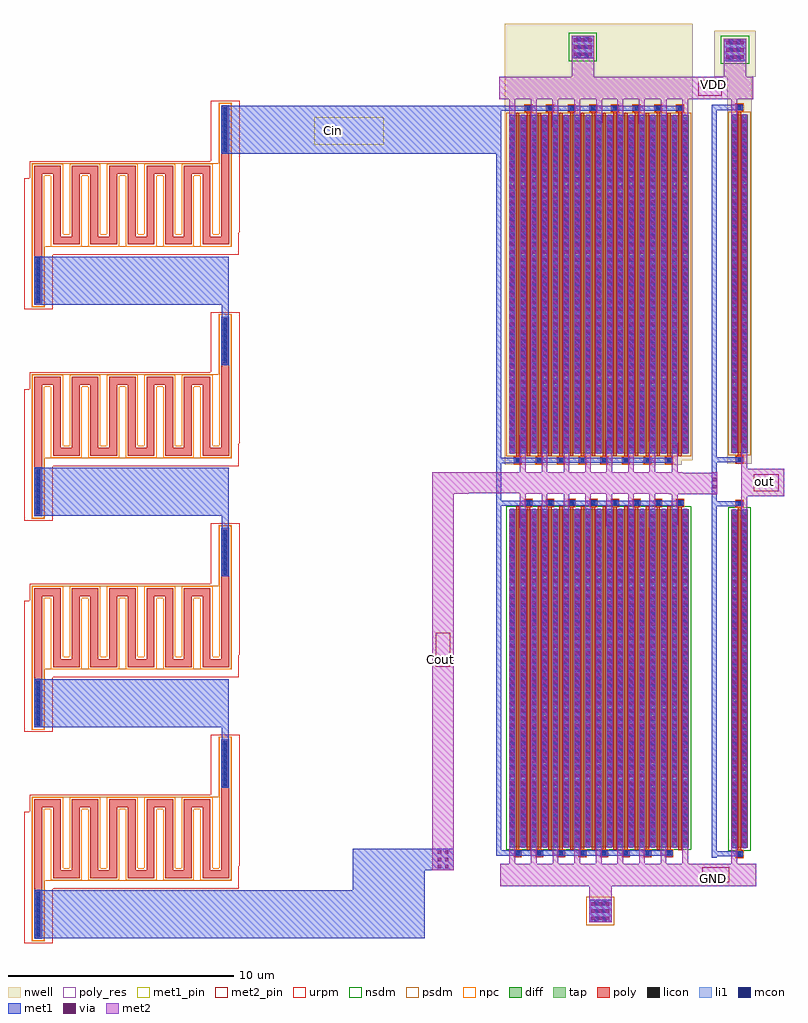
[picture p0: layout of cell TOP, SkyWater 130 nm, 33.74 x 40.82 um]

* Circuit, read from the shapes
.subckt TOP Cin Cout GND VDD out
XM1 Cout Cin GND GND sky130_fd_pr__nfet_01v8 w=15 l=0.15 m=16
XM2 out Cout GND GND sky130_fd_pr__nfet_01v8 w=15 l=0.15
XM3 Cout Cin VDD VDD sky130_fd_pr__pfet_01v8 w=15 l=0.15 m=16
XM4 out Cout VDD VDD sky130_fd_pr__pfet_01v8 w=15 l=0.15
XR5 n1 Cout GND sky130_fd_pr__res_xhigh_po w=0.35 l=44.34
XR6 n2 n1 GND sky130_fd_pr__res_xhigh_po w=0.35 l=44.34
XR7 n3 n2 GND sky130_fd_pr__res_xhigh_po w=0.35 l=44.34
XR8 Cin n3 GND sky130_fd_pr__res_xhigh_po w=0.35 l=44.34
.ends

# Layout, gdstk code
import gdstk
lib = gdstk.Library(unit=1e-6, precision=1e-09)
def R(c, l, rs):  # rectangles x0, y0, x1, y1
    for r in rs: c.add(gdstk.rectangle(r[:2], r[2:], *l))
def A(c, l, x, y, w, h, nx, ny, dx, dy):  # array of equal rectangles
    R(c, l, [(x+i*dx, y+j*dy, x+i*dx+w, y+j*dy+h) for i in range(nx) for j in range(ny)])
def P(c, l, *ps):  # polygons
    for p in ps: c.add(gdstk.Polygon(p, *l))
nwell = (64, 20)
diff = (65, 20)
tap = (65, 44)
poly_res = (66, 13)
poly = (66, 20)
licon = (66, 44)
li1 = (67, 20)
mcon = (67, 44)
met1_pin = (68, 16)
met1 = (68, 20)
via = (68, 44)
met2_pin = (69, 16)
met2 = (69, 20)
urpm = (79, 20)
nsdm = (93, 44)
psdm = (94, 20)
npc = (95, 20)

top = lib.new_cell('TOP')
R(top, nwell, [(35.012,-1.648,42.862,-1.458)])
P(top, nwell, [(35.012,-1.458),(35.012,13.45),(35.011,13.45),(35.011,17.919),(43.342,17.919),(43.342,-1.458)],
  [(44.879,-1.618),(44.879,14.233),(44.876,14.233),(44.876,15.563),(44.31,15.563),(44.31,15.966),(44.307,15.966),(44.307,17.612),(46.152,17.612),(46.152,15.563),(45.969,15.563),(45.969,-1.618)])
R(top, diff, [(45.059,-18.663,45.789,-3.663), (35.192,-18.633,43.162,-3.633), (35.192,-1.148,43.162,13.852), (45.059,-1.118,45.789,13.882)])
A(top, poly_res, 14.117, -20.597, 0.35, 3.73, 1, 4, 0, 9.38)
A(top, poly_res, 14.947, -20.017, 1.18, 0.35, 5, 4, 1.66, 9.38)
A(top, poly_res, 14.947, -19.667, 0.35, 2.8, 9, 4, 0.83, 9.38)
A(top, poly_res, 22.417, -19.667, 0.35, 3.73, 1, 4, 0, 9.38)
A(top, poly_res, 14.117, -16.867, 1.18, 0.35, 5, 4, 1.66, 9.38)
A(top, poly, 14.117, -22.697, 0.35, 5.83, 1, 4, 0, 9.38)
A(top, poly, 14.947, -20.017, 1.18, 0.35, 5, 4, 1.66, 9.38)
A(top, poly, 14.947, -19.667, 0.35, 2.8, 9, 4, 0.83, 9.38)
A(top, poly, 22.417, -19.667, 0.35, 5.83, 1, 4, 0, 9.38)
A(top, poly, 35.412, -19.073, 0.33, 0.33, 8, 2, 0.96, 17.44)
A(top, poly, 35.982, -18.763, 0.15, 15.24, 8, 1, 0.96, 0)
A(top, poly, 35.502, -18.743, 0.15, 15.24, 8, 1, 0.96, 0)
A(top, poly, 14.117, -16.867, 1.18, 0.35, 5, 4, 1.66, 9.38)
A(top, poly, 35.892, -3.523, 0.33, 0.33, 8, 2, 0.96, 17.53)
A(top, poly, 35.502, -1.303, 0.15, 15.285, 8, 1, 0.96, 0)
A(top, poly, 35.982, -1.278, 0.15, 15.285, 8, 1, 0.96, 0)
R(top, poly, [(45.259,-19.103,45.589,-18.773), (45.349,-18.773,45.499,-3.553), (45.259,-3.553,45.589,-3.223), (45.259,-1.603,45.589,-1.273), (45.349,-1.273,45.499,14.037), (45.259,14.037,45.589,14.367)])
A(top, licon, 14.197, -22.617, 0.19, 2, 1, 4, 0, 9.38)
A(top, licon, 38.993, -21.896, 0.17, 0.17, 1, 3, 0, 0.34)
A(top, licon, 39.333, -21.896, 0.17, 0.17, 1, 3, 0, 0.34)
A(top, licon, 35.492, -18.993, 0.17, 0.17, 8, 2, 0.96, 17.44)
A(top, licon, 45.119, -18.558, 0.17, 0.17, 1, 44, 0, 0.34)
A(top, licon, 45.559, -18.558, 0.17, 0.17, 1, 44, 0, 0.34)
A(top, licon, 35.252, -18.528, 0.17, 0.17, 17, 44, 0.48, 0.34)
A(top, licon, 22.497, -15.917, 0.19, 2, 1, 4, 0, 9.38)
A(top, licon, 35.972, -3.443, 0.17, 0.17, 8, 2, 0.96, 17.53)
A(top, licon, 35.252, -1.043, 0.17, 0.17, 17, 44, 0.48, 0.34)
A(top, licon, 45.119, -1.013, 0.17, 0.17, 1, 44, 0, 0.34)
A(top, licon, 45.559, -1.013, 0.17, 0.17, 1, 44, 0, 0.34)
A(top, licon, 44.968, 16.341, 0.17, 0.17, 1, 3, 0, 0.34)
A(top, licon, 45.308, 16.341, 0.17, 0.17, 1, 3, 0, 0.34)
A(top, licon, 38.212, 16.465, 0.17, 0.17, 1, 3, 0, 0.34)
A(top, licon, 38.552, 16.465, 0.17, 0.17, 1, 3, 0, 0.34)
R(top, licon, [(45.339,-19.023,45.509,-18.853), (45.339,-3.473,45.509,-3.303), (45.339,-1.523,45.509,-1.353), (45.339,14.117,45.509,14.287)])
A(top, li1, 14.117, -22.697, 0.35, 2.16, 1, 4, 0, 9.38)
A(top, li1, 35.412, -18.993, 0.33, 0.17, 8, 2, 0.96, 17.44)
A(top, li1, 35.252, -18.653, 0.17, 15.04, 17, 2, 0.48, 17.485)
A(top, li1, 22.417, -15.997, 0.35, 2.16, 1, 4, 0, 9.38)
A(top, li1, 35.892, -3.443, 0.33, 0.17, 8, 2, 0.96, 17.53)
R(top, li1, [(45.259,-19.023,45.589,-18.853), (45.119,-18.683,45.289,-3.643), (45.559,-18.683,45.729,-3.643), (45.259,-3.473,45.589,-3.303), (45.259,-1.523,45.589,-1.353), (45.119,-1.138,45.289,13.902), (45.559,-1.138,45.729,13.902), (45.259,14.117,45.589,14.287)])
A(top, mcon, 14.197, -22.617, 0.19, 2, 1, 4, 0, 9.38)
A(top, mcon, 38.983, -21.916, 0.17, 0.17, 1, 3, 0, 0.36)
A(top, mcon, 39.343, -21.916, 0.17, 0.17, 1, 3, 0, 0.36)
A(top, mcon, 35.492, -18.993, 0.17, 0.17, 8, 2, 0.96, 17.44)
A(top, mcon, 45.119, -18.448, 0.17, 0.17, 1, 41, 0, 0.36)
A(top, mcon, 45.559, -18.448, 0.17, 0.17, 1, 41, 0, 0.36)
A(top, mcon, 35.252, -18.418, 0.17, 0.17, 17, 41, 0.48, 0.36)
A(top, mcon, 35.972, -3.443, 0.17, 0.17, 8, 2, 0.96, 17.53)
A(top, mcon, 35.252, -0.933, 0.17, 0.17, 17, 41, 0.48, 0.36)
A(top, mcon, 45.119, -0.903, 0.17, 0.17, 1, 41, 0, 0.36)
A(top, mcon, 45.559, -0.903, 0.17, 0.17, 1, 41, 0, 0.36)
A(top, mcon, 44.958, 16.321, 0.17, 0.17, 1, 3, 0, 0.36)
A(top, mcon, 45.318, 16.321, 0.17, 0.17, 1, 3, 0, 0.36)
A(top, mcon, 38.202, 16.445, 0.17, 0.17, 1, 3, 0, 0.36)
A(top, mcon, 38.562, 16.445, 0.17, 0.17, 1, 3, 0, 0.36)
R(top, mcon, [(45.339,-19.023,45.509,-18.853), (22.497,-15.917,22.687,-13.917), (22.497,-6.536,22.687,-4.536), (45.339,-3.473,45.509,-3.303), (45.339,-1.523,45.509,-1.353), (22.497,2.844,22.687,4.844), (22.497,12.223,22.687,14.223), (45.339,14.117,45.509,14.287)])
R(top, met1_pin, [(26.544,12.542,29.637,13.773)])
A(top, met1, 38.567, -18.635, 0.26, 15, 5, 1, 0.48, 0)
A(top, met1, 35.687, -18.634, 0.26, 15, 6, 1, 0.48, 0)
A(top, met1, 40.967, -18.634, 0.26, 15, 4, 1, 0.48, 0)
A(top, met1, 39.047, -1.149, 0.26, 15, 5, 1, 0.48, 0)
A(top, met1, 36.167, -1.148, 0.26, 15, 6, 1, 0.48, 0)
A(top, met1, 41.447, -1.148, 0.26, 15, 4, 1, 0.48, 0)
A(top, met1, 35.912, 14.057, 0.29, 0.23, 8, 1, 0.96, 0)
R(top, met1, [(45.074,-18.663,45.334,-3.663), (45.514,-18.663,45.774,-3.663), (35.207,-18.633,35.467,-3.633), (40.022,-18.633,40.252,-3.633), (42.887,-18.633,43.147,-3.633), (35.207,-1.148,35.467,13.852), (35.687,-1.147,35.947,13.853), (45.074,-1.118,45.334,13.882), (45.514,-1.118,45.774,13.882), (45.279,14.087,45.569,14.317)])
P(top, met1, [(35.432,-19.023),(35.432,-19.009),(34.627,-19.009),(34.627,12.158),(22.432,12.158),(22.432,14.287),(42.922,14.287),(42.922,14.057),(34.857,14.057),(34.857,-1.35),(42.44,-1.35),(42.44,-1.583),(42.15,-1.583),(42.15,-1.58),(41.482,-1.58),(41.482,-1.583),(41.192,-1.583),(41.192,-1.58),(40.522,-1.58),(40.522,-1.583),(40.232,-1.583),(40.232,-1.58),(39.562,-1.58),(39.562,-1.583),(39.272,-1.583),(39.272,-1.58),(38.602,-1.58),(38.602,-1.583),(38.312,-1.583),(38.312,-1.58),(37.642,-1.58),(37.642,-1.583),(37.352,-1.583),(37.352,-1.58),(36.682,-1.58),(36.682,-1.583),(36.392,-1.583),(36.392,-1.58),(35.722,-1.58),(35.722,-1.583),(35.432,-1.583),(35.432,-1.58),(34.857,-1.58),(34.857,-3.249),(35.912,-3.249),(35.912,-3.243),(36.202,-3.243),(36.202,-3.249),(36.872,-3.249),(36.872,-3.243),(37.162,-3.243),(37.162,-3.249),(37.832,-3.249),(37.832,-3.243),(38.122,-3.243),(38.122,-3.249),(38.792,-3.249),(38.792,-3.243),(39.082,-3.243),(39.082,-3.249),(39.752,-3.249),(39.752,-3.243),(40.042,-3.243),(40.042,-3.249),(40.712,-3.249),(40.712,-3.243),(41.002,-3.243),(41.002,-3.249),(41.672,-3.249),(41.672,-3.243),(41.962,-3.243),(41.962,-3.249),(42.632,-3.249),(42.632,-3.243),(42.922,-3.243),(42.922,-3.479),(34.857,-3.479),(34.857,-18.779),(42.441,-18.779),(42.441,-19.023),(42.151,-19.023),(42.151,-19.009),(41.482,-19.009),(41.482,-19.023),(41.192,-19.023),(41.192,-19.009),(40.522,-19.009),(40.522,-19.023),(40.232,-19.023),(40.232,-19.009),(39.562,-19.009),(39.562,-19.023),(39.272,-19.023),(39.272,-19.009),(38.602,-19.009),(38.602,-19.023),(38.312,-19.023),(38.312,-19.009),(37.642,-19.009),(37.642,-19.023),(37.352,-19.023),(37.352,-19.009),(36.682,-19.009),(36.682,-19.023),(36.392,-19.023),(36.392,-19.009),(35.722,-19.009),(35.722,-19.023)],
  [(44.186,-19.1),(44.186,14.317),(45.569,14.317),(45.569,14.087),(44.416,14.087),(44.416,-1.326),(45.278,-1.326),(45.278,-1.323),(45.568,-1.323),(45.568,-1.556),(44.416,-1.556),(44.416,-3.268),(45.569,-3.268),(45.569,-3.503),(45.279,-3.503),(45.279,-3.498),(44.416,-3.498),(44.416,-18.815),(45.568,-18.815),(45.568,-19.053),(45.278,-19.053),(45.278,-19.045),(44.416,-19.045),(44.416,-19.1)],
  [(14.132,-22.682),(14.132,-20.553),(28.261,-20.553),(28.261,-18.702),(32.745,-18.702),(32.745,-19.654),(31.44,-19.654),(31.44,-22.682)],
  [(22.432,2.779),(22.432,5.458),(14.132,5.458),(14.132,7.587),(22.752,7.587),(22.752,2.779)],
  [(22.432,-6.601),(22.432,-3.922),(14.132,-3.922),(14.132,-1.793),(22.752,-1.793),(22.752,-6.601)],
  [(22.432,-15.982),(22.432,-13.302),(14.132,-13.302),(14.132,-11.173),(22.752,-11.173),(22.752,-15.982)])
A(top, via, 38.853, -21.866, 0.15, 0.15, 3, 3, 0.32, 0.32)
A(top, via, 32.034, -19.573, 0.15, 0.15, 1, 3, 0, 0.32)
A(top, via, 32.354, -19.573, 0.15, 0.15, 1, 3, 0, 0.32)
A(top, via, 45.129, -18.444, 0.15, 0.15, 1, 46, 0, 0.32)
A(top, via, 45.569, -18.444, 0.15, 0.15, 1, 46, 0, 0.32)
A(top, via, 38.622, -18.416, 0.15, 0.15, 5, 46, 0.48, 0.32)
A(top, via, 35.742, -18.415, 0.15, 0.15, 6, 46, 0.48, 0.32)
A(top, via, 41.022, -18.415, 0.15, 0.15, 4, 46, 0.48, 0.32)
A(top, via, 35.262, -18.414, 0.15, 0.15, 1, 46, 0, 0.32)
A(top, via, 42.942, -18.414, 0.15, 0.15, 1, 46, 0, 0.32)
A(top, via, 39.102, -0.93, 0.15, 0.15, 5, 46, 0.48, 0.32)
A(top, via, 36.222, -0.929, 0.15, 0.15, 6, 46, 0.48, 0.32)
A(top, via, 41.502, -0.929, 0.15, 0.15, 4, 46, 0.48, 0.32)
A(top, via, 35.742, -0.928, 0.15, 0.15, 1, 46, 0, 0.32)
A(top, via, 35.262, -0.917, 0.15, 0.15, 1, 46, 0, 0.32)
A(top, via, 45.129, -0.899, 0.15, 0.15, 1, 46, 0, 0.32)
A(top, via, 45.569, -0.899, 0.15, 0.15, 1, 46, 0, 0.32)
A(top, via, 44.828, 16.371, 0.15, 0.15, 3, 3, 0.32, 0.32)
A(top, via, 38.072, 16.495, 0.15, 0.15, 3, 3, 0.32, 0.32)
R(top, via, [(44.241,-2.707,44.391,-2.557), (44.241,-2.387,44.391,-2.237)])
R(top, met2_pin, [(43.776,-20.187,44.978,-19.537), (31.936,-10.62,32.587,-9.105), (46.048,-2.84,47.175,-2.089), (43.589,14.737,44.642,15.42)])
P(top, met2, [(39.047,-1.149),(39.047,13.851),(39.06,13.851),(39.06,14.563),(38.348,14.563),(38.348,13.484),(38.347,13.484),(38.347,-1.148),(38.087,-1.148),(38.087,13.852),(38.088,13.852),(38.088,14.563),(37.375,14.563),(37.375,13.852),(37.387,13.852),(37.387,-1.148),(37.127,-1.148),(37.127,13.333),(37.115,13.333),(37.115,14.563),(36.415,14.563),(36.415,13.852),(36.427,13.852),(36.427,-1.148),(36.167,-1.148),(36.167,13.553),(36.155,13.553),(36.155,14.563),(35.462,14.563),(35.462,13.852),(35.467,13.852),(35.467,-1.148),(35.207,-1.148),(35.207,13.672),(35.202,13.672),(35.202,14.563),(34.752,14.563),(34.752,15.563),(37.967,15.563),(37.967,17.39),(38.967,17.39),(38.967,15.563),(44.726,15.563),(44.726,16.266),(44.723,16.266),(44.723,17.266),(45.723,17.266),(45.723,15.563),(46.033,15.563),(46.033,14.563),(45.328,14.563),(45.328,13.882),(45.334,13.882),(45.334,-1.118),(45.074,-1.118),(45.074,13.514),(45.068,13.514),(45.068,14.563),(43.143,14.563),(43.143,13.852),(43.147,13.852),(43.147,-1.148),(42.887,-1.148),(42.887,13.599),(42.883,13.599),(42.883,14.563),(42.185,14.563),(42.185,13.852),(42.187,13.852),(42.187,-1.148),(41.927,-1.148),(41.927,13.602),(41.925,13.602),(41.925,14.563),(41.218,14.563),(41.218,13.851),(41.227,13.851),(41.227,-1.149),(40.967,-1.149),(40.967,13.484),(40.958,13.484),(40.958,14.563),(40.257,14.563),(40.257,13.851),(40.267,13.851),(40.267,-1.149),(40.007,-1.149),(40.007,13.495),(39.997,13.495),(39.997,14.563),(39.32,14.563),(39.32,13.495),(39.307,13.495),(39.307,-1.149)],
  [(45.514,-18.663),(45.514,-4.081),(45.501,-4.081),(45.501,-0.708),(45.514,-0.708),(45.514,13.882),(45.774,13.882),(45.774,-1.118),(45.761,-1.118),(45.761,-1.827),(47.4,-1.827),(47.4,-3.063),(45.761,-3.063),(45.761,-3.663),(45.774,-3.663),(45.774,-18.663)],
  [(38.748,-21.973),(38.748,-20.361),(34.795,-20.361),(34.795,-19.361),(35.2,-19.361),(35.2,-18.226),(35.207,-18.226),(35.207,-3.633),(35.467,-3.633),(35.467,-18.633),(35.46,-18.633),(35.46,-19.361),(36.154,-19.361),(36.154,-18.265),(36.167,-18.265),(36.167,-3.634),(36.427,-3.634),(36.427,-18.634),(36.414,-18.634),(36.414,-19.361),(37.123,-19.361),(37.123,-18.451),(37.127,-18.451),(37.127,-3.634),(37.387,-3.634),(37.387,-18.634),(37.383,-18.634),(37.383,-19.361),(38.09,-19.361),(38.09,-18.634),(38.087,-18.634),(38.087,-3.634),(38.347,-3.634),(38.347,-18.454),(38.35,-18.454),(38.35,-19.361),(39.043,-19.361),(39.043,-18.4),(39.047,-18.4),(39.047,-3.635),(39.307,-3.635),(39.307,-18.635),(39.303,-18.635),(39.303,-19.361),(40.004,-19.361),(40.004,-18.337),(40.007,-18.337),(40.007,-3.635),(40.267,-3.635),(40.267,-18.635),(40.264,-18.635),(40.264,-19.361),(40.965,-19.361),(40.965,-18.246),(40.967,-18.246),(40.967,-3.634),(41.227,-3.634),(41.227,-18.634),(41.225,-18.634),(41.225,-19.361),(41.921,-19.361),(41.921,-18.366),(41.927,-18.366),(41.927,-3.634),(42.187,-3.634),(42.187,-18.634),(42.181,-18.634),(42.181,-19.361),(42.883,-19.361),(42.883,-18.399),(42.887,-18.399),(42.887,-3.633),(43.147,-3.633),(43.147,-18.633),(43.143,-18.633),(43.143,-19.361),(45.068,-19.361),(45.068,-18.291),(45.074,-18.291),(45.074,-3.663),(45.334,-3.663),(45.334,-18.663),(45.328,-18.663),(45.328,-19.361),(46.163,-19.361),(46.163,-20.361),(39.748,-20.361),(39.748,-21.973)],
  [(31.783,-19.654),(31.783,-1.995),(35.467,-1.995),(35.467,-1.996),(35.667,-1.996),(35.667,-0.338),(35.687,-0.338),(35.687,13.853),(35.947,13.853),(35.947,-1.147),(35.927,-1.147),(35.927,-1.996),(36.636,-1.996),(36.636,-0.705),(36.647,-0.705),(36.647,13.852),(36.907,13.852),(36.907,-1.148),(36.896,-1.148),(36.896,-1.996),(37.612,-1.996),(37.612,-1.148),(37.607,-1.148),(37.607,13.852),(37.867,13.852),(37.867,-0.668),(37.872,-0.668),(37.872,-1.996),(38.567,-1.996),(38.567,13.852),(38.827,13.852),(38.827,-1.996),(39.515,-1.996),(39.515,-0.56),(39.527,-0.56),(39.527,13.851),(39.787,13.851),(39.787,-1.149),(39.775,-1.149),(39.775,-1.996),(40.477,-1.996),(40.477,-0.81),(40.487,-0.81),(40.487,13.851),(40.747,13.851),(40.747,-1.149),(40.737,-1.149),(40.737,-1.996),(41.427,-1.996),(41.427,-0.682),(41.447,-0.682),(41.447,13.852),(41.707,13.852),(41.707,-1.148),(41.687,-1.148),(41.687,-1.996),(42.417,-1.996),(42.417,-1.148),(42.407,-1.148),(42.407,13.852),(42.667,13.852),(42.667,-0.688),(42.677,-0.688),(42.677,-1.996),(42.891,-1.996),(42.891,-2.009),(44.186,-2.009),(44.186,-1.996),(44.446,-1.996),(44.446,-2.961),(42.677,-2.961),(42.677,-4.352),(42.667,-4.352),(42.667,-18.634),(42.407,-18.634),(42.407,-3.634),(42.417,-3.634),(42.417,-2.961),(42.299,-2.961),(42.299,-2.948),(41.687,-2.948),(41.687,-3.634),(41.707,-3.634),(41.707,-18.634),(41.447,-18.634),(41.447,-4.459),(41.427,-4.459),(41.427,-2.948),(40.737,-2.948),(40.737,-3.635),(40.747,-3.635),(40.747,-18.635),(40.487,-18.635),(40.487,-5.508),(40.477,-5.508),(40.477,-2.948),(39.775,-2.948),(39.775,-3.635),(39.787,-3.635),(39.787,-18.635),(39.527,-18.635),(39.527,-4.395),(39.515,-4.395),(39.515,-2.948),(38.827,-2.948),(38.827,-18.635),(38.567,-18.635),(38.567,-2.948),(37.872,-2.948),(37.872,-4.419),(37.867,-4.419),(37.867,-18.634),(37.607,-18.634),(37.607,-3.634),(37.612,-3.634),(37.612,-2.948),(36.896,-2.948),(36.896,-3.634),(36.907,-3.634),(36.907,-18.634),(36.647,-18.634),(36.647,-4.287),(36.636,-4.287),(36.636,-2.948),(35.927,-2.948),(35.927,-3.634),(35.947,-3.634),(35.947,-18.634),(35.687,-18.634),(35.687,-4.485),(35.667,-4.485),(35.667,-2.948),(33.382,-2.948),(33.382,-2.947),(32.735,-2.947),(32.735,-18.702),(32.745,-18.702),(32.745,-19.654)])
A(top, urpm, 13.657, -22.897, 1.27, 2.42, 1, 4, 0, 9.38)
A(top, urpm, 13.657, -20.477, 9.53, 1.01, 1, 4, 0, 9.38)
A(top, urpm, 13.657, -19.467, 9.57, 2.4, 1, 4, 0, 9.38)
A(top, urpm, 13.917, -17.067, 9.31, 0.75, 1, 4, 0, 9.38)
A(top, urpm, 21.957, -16.317, 1.27, 2.68, 1, 4, 0, 9.38)
R(top, nsdm, [(44.934,-18.788,45.914,-3.538), (35.067,-18.758,43.287,-3.508)])
A(top, psdm, 14.007, -22.807, 0.57, 2.68, 1, 4, 0, 9.38)
A(top, psdm, 14.007, -20.127, 8.87, 3.72, 1, 4, 0, 9.38)
A(top, psdm, 22.307, -16.407, 0.57, 2.68, 1, 4, 0, 9.38)
R(top, psdm, [(35.067,-1.273,43.287,13.977), (44.934,-1.243,45.914,14.007)])
A(top, npc, 14.022, -22.792, 0.54, 5.83, 1, 4, 0, 9.38)
A(top, npc, 14.852, -20.112, 1.37, 0.54, 5, 4, 1.66, 9.38)
A(top, npc, 14.852, -19.572, 0.54, 2.61, 9, 4, 0.83, 9.38)
A(top, npc, 22.322, -19.572, 0.54, 5.83, 1, 4, 0, 9.38)
A(top, npc, 35.392, -19.093, 0.37, 0.37, 8, 2, 0.96, 17.44)
A(top, npc, 14.022, -16.962, 1.37, 0.54, 5, 4, 1.66, 9.38)
A(top, npc, 35.872, -3.543, 0.37, 0.37, 8, 2, 0.96, 17.53)
R(top, npc, [(45.239,-19.123,45.609,-18.753), (45.239,-3.573,45.609,-3.203), (45.239,-1.623,45.609,-1.253), (45.239,14.017,45.609,14.387)])
top.add(gdstk.FlexPath([(44.723,16.766),(45.723,16.766)], 1, ends="flush", simple_path=True, layer=68, datatype=20))  # met1
top.add(gdstk.FlexPath([(44.316,-2.948),(44.316,-1.996)], 0.26, ends="flush", simple_path=True, layer=68, datatype=20))  # met1
top.add(gdstk.FlexPath([(38.748,-21.471),(39.748,-21.471)], 1, ends="flush", simple_path=True, layer=68, datatype=20))  # met1
top.add(gdstk.FlexPath([(37.967,16.89),(38.967,16.89)], 1, ends="flush", simple_path=True, layer=68, datatype=20))  # met1
top.add(gdstk.FlexPath([(44.186,-2.472),(44.416,-2.472)], 0.952, ends="flush", simple_path=True, layer=68, datatype=20))  # met1
top.add(gdstk.FlexPath([(38.748,-21.471),(39.748,-21.471)], 1, ends="flush", simple_path=True, layer=69, datatype=20))  # met2
top.add(gdstk.FlexPath([(37.967,16.89),(38.967,16.89)], 1, ends="flush", simple_path=True, layer=69, datatype=20))  # met2
top.add(gdstk.FlexPath([(44.598,16.766),(45.848,16.766)], 1.25, ends="flush", simple_path=True, layer=93, datatype=44))  # nsdm
top.add(gdstk.FlexPath([(37.842,16.89),(39.092,16.89)], 1.25, ends="flush", simple_path=True, layer=93, datatype=44))  # nsdm
top.add(gdstk.FlexPath([(44.723,16.766),(45.723,16.766)], 1, ends="flush", simple_path=True, layer=67, datatype=20))  # li1
top.add(gdstk.FlexPath([(38.748,-21.471),(39.748,-21.471)], 1, ends="flush", simple_path=True, layer=67, datatype=20))  # li1
top.add(gdstk.FlexPath([(37.967,16.89),(38.967,16.89)], 1, ends="flush", simple_path=True, layer=67, datatype=20))  # li1
top.add(gdstk.FlexPath([(38.623,-21.471),(39.873,-21.471)], 1.25, ends="flush", simple_path=True, layer=94, datatype=20))  # psdm
top.add(gdstk.FlexPath([(44.723,16.766),(45.723,16.766)], 1, ends="flush", simple_path=True, layer=65, datatype=44))  # tap
top.add(gdstk.FlexPath([(38.748,-21.471),(39.748,-21.471)], 1, ends="flush", simple_path=True, layer=65, datatype=44))  # tap
top.add(gdstk.FlexPath([(37.967,16.89),(38.967,16.89)], 1, ends="flush", simple_path=True, layer=65, datatype=44))  # tap
top.add(gdstk.Label('Cin', (27.379,13.177), layer=68, texttype=5))
top.add(gdstk.Label('VDD', (44.288,15.247), layer=69, texttype=5))
top.add(gdstk.Label('out', (46.534,-2.388), layer=69, texttype=5))
top.add(gdstk.Label('GND', (44.283,-20.036), layer=69, texttype=5))
top.add(gdstk.Label('Cout', (32.154,-10.296), layer=69, texttype=5))

lib.write_gds('TOP.gds')
